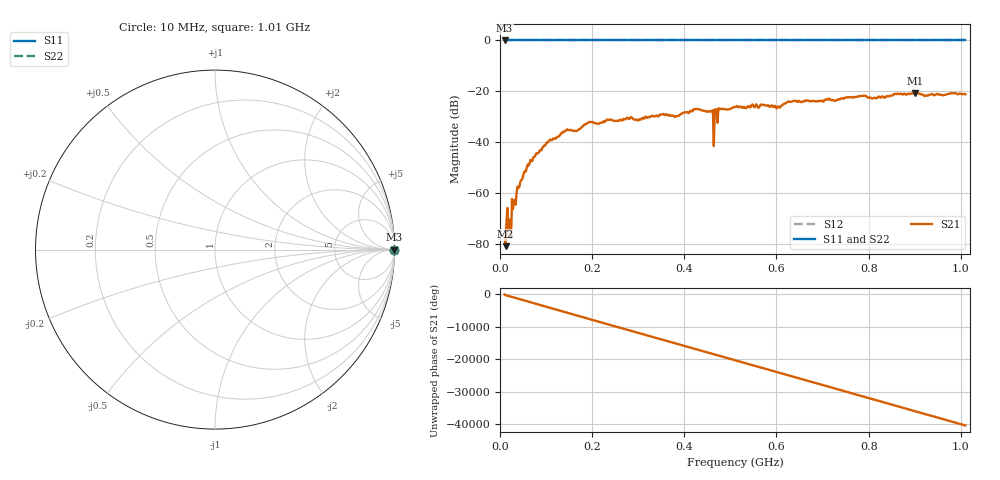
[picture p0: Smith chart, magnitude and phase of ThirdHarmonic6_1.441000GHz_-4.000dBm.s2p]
! 8/16/2025 4:39:34 PM
! C:\ANRITSUVNA\TEMP\TEMP.S2P
! CHANNEL.1
! TR.MEASUREMENT
! RAW.DATA
! RF.CORRECTION.OFF
! AVERAGING.OFF
! IF.BANDWIDTH: 5KHZ
! SWEEPTYPE:  FREQ.SWEEP(Linear)
! Reference Plane Port Info
! PORT:  PORT1  PORT2
! DISTANCE:  0  m  0  m
! TIME:  0  s  0  s
! PHASE.OFFSET:  0  deg.  0  deg.
! LOSS:  0  dB  0  dB
! REF.LOSS:  0  dB  0  dB
! REF.FREQ:  0  Hz  0  Hz
! Power Info
! POWER:  -20  dBm  -20  dBm
! EFF.POWER:  -20  dBm  -20  dBm
! SOURCE.ATTEN:  0  dB  0  dB
! TEST.ATTEN:  0  dB  0  dB
# GHZ S RI R 50.0
! FREQ.GHZ  S11RE  S11IM  S21RE  S21IM  S12RE  S12IM  S22RE  S22IM
!; PortSelection: Port_12
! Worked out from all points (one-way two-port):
!   501 points, 10 MHz to 1.01 GHz, reference 50 ohm
!   highest |S21| = -20.65 dB at 900 MHz (marker M1); lowest = -80.9 dB at 12 MHz (marker M2)
!   lowest |S11| = 0.0 dB at 10 MHz (marker M3)
!   |S11| at or under -10 dB: nowhere
!   |S22| runs from 0.0 to 0.0 dB; largest |S21 - S12| = 1.1
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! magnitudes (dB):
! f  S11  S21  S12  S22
! 10 MHz  0.0  -77.4  0.0  0.0
! 12 MHz  0.0  -80.9  0.0  0.0
! 18 MHz  0.0  -74.6  0.0  0.0
! 22 MHz  0.0  -71.7  0.0  0.0
! 40 MHz  0.0  -58.0  0.0  0.0
! 64 MHz  0.0  -48.5  0.0  0.0
! 106 MHz  0.0  -39.6  0.0  0.0
! 178 MHz  0.0  -33.9  0.0  0.0
! 344 MHz  0.0  -29.9  0.0  0.0
! 382 MHz  0.0  -29.8  0.0  0.0
! 430 MHz  0.0  -27.1  0.0  0.0
! 458 MHz  0.0  -27.9  0.0  0.0
! 460 MHz  0.0  -27.6  0.0  0.0
! 468 MHz  0.0  -27.1  0.0  0.0
! 470 MHz  0.0  -27.2  0.0  0.0
! 478 MHz  0.0  -27.1  0.0  0.0
! 510 MHz  0.0  -26.2  0.0  0.0
! 604 MHz  0.0  -25.9  0.0  0.0
! 678 MHz  0.0  -23.7  0.0  0.0
! 844 MHz  0.0  -22.0  0.0  0.0
! 900 MHz  0.0  -20.6  0.0  0.0
! 1.01 GHz  0.0  -21.2  0.0  0.0
